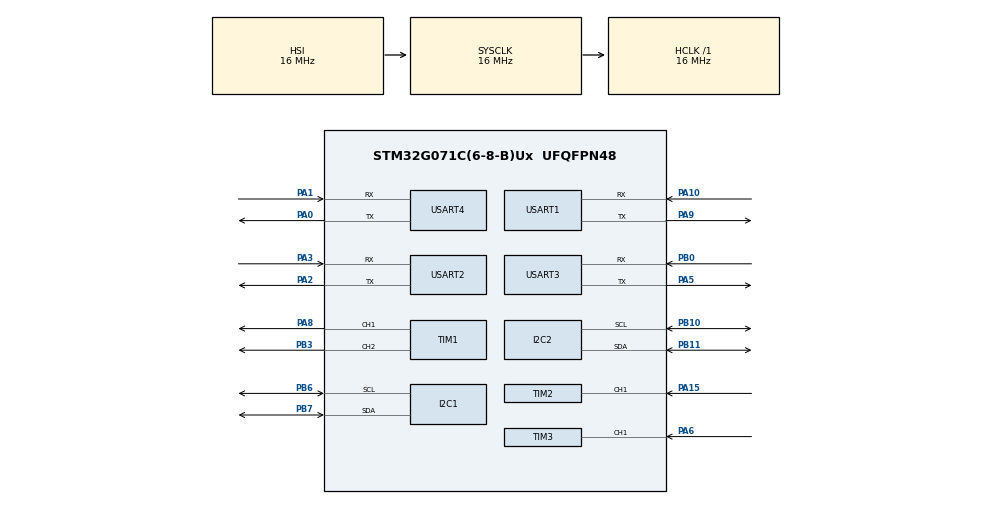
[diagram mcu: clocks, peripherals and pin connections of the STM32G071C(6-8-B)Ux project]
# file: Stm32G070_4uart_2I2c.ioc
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Dma.Request0=USART1_RX
Dma.Request1=USART2_RX
Dma.Request2=USART3_RX
Dma.Request3=USART4_RX
Dma.USART1_RX.0.Direction=DMA_PERIPH_TO_MEMORY
Dma.USART1_RX.0.EventEnable=DISABLE
Dma.USART1_RX.0.Instance=DMA1_Channel1
Dma.USART1_RX.0.MemDataAlignment=DMA_MDATAALIGN_BYTE
Dma.USART1_RX.0.MemInc=DMA_MINC_ENABLE
Dma.USART1_RX.0.Mode=DMA_CIRCULAR
Dma.USART1_RX.0.PeriphDataAlignment=DMA_PDATAALIGN_BYTE
Dma.USART1_RX.0.PeriphInc=DMA_PINC_DISABLE
Dma.USART1_RX.0.Polarity=HAL_DMAMUX_REQ_GEN_RISING
Dma.USART1_RX.0.Priority=DMA_PRIORITY_LOW
Dma.USART1_RX.0.RequestNumber=1
Dma.USART1_RX.0.SignalID=NONE
Dma.USART1_RX.0.SyncEnable=DISABLE
Dma.USART1_RX.0.SyncPolarity=HAL_DMAMUX_SYNC_NO_EVENT
Dma.USART1_RX.0.SyncRequestNumber=1
Dma.USART1_RX.0.SyncSignalID=NONE
Dma.USART2_RX.1.Direction=DMA_PERIPH_TO_MEMORY
Dma.USART2_RX.1.EventEnable=DISABLE
Dma.USART2_RX.1.Instance=DMA1_Channel2
Dma.USART2_RX.1.MemDataAlignment=DMA_MDATAALIGN_BYTE
Dma.USART2_RX.1.MemInc=DMA_MINC_ENABLE
Dma.USART2_RX.1.Mode=DMA_CIRCULAR
Dma.USART2_RX.1.PeriphDataAlignment=DMA_PDATAALIGN_BYTE
Dma.USART2_RX.1.PeriphInc=DMA_PINC_DISABLE
Dma.USART2_RX.1.Polarity=HAL_DMAMUX_REQ_GEN_RISING
Dma.USART2_RX.1.Priority=DMA_PRIORITY_LOW
Dma.USART2_RX.1.RequestNumber=1
Dma.USART2_RX.1.SignalID=NONE
Dma.USART2_RX.1.SyncEnable=DISABLE
Dma.USART2_RX.1.SyncPolarity=HAL_DMAMUX_SYNC_NO_EVENT
Dma.USART2_RX.1.SyncRequestNumber=1
Dma.USART2_RX.1.SyncSignalID=NONE
Dma.USART3_RX.2.Direction=DMA_PERIPH_TO_MEMORY
Dma.USART3_RX.2.EventEnable=DISABLE
Dma.USART3_RX.2.Instance=DMA1_Channel3
Dma.USART3_RX.2.MemDataAlignment=DMA_MDATAALIGN_BYTE
Dma.USART3_RX.2.MemInc=DMA_MINC_ENABLE
Dma.USART3_RX.2.Mode=DMA_CIRCULAR
Dma.USART3_RX.2.PeriphDataAlignment=DMA_PDATAALIGN_BYTE
Dma.USART3_RX.2.PeriphInc=DMA_PINC_DISABLE
Dma.USART3_RX.2.Polarity=HAL_DMAMUX_REQ_GEN_RISING
Dma.USART3_RX.2.Priority=DMA_PRIORITY_LOW
Dma.USART3_RX.2.RequestNumber=1
Dma.USART3_RX.2.SignalID=NONE
Dma.USART3_RX.2.SyncEnable=DISABLE
Dma.USART3_RX.2.SyncPolarity=HAL_DMAMUX_SYNC_NO_EVENT
Dma.USART3_RX.2.SyncRequestNumber=1
Dma.USART3_RX.2.SyncSignalID=NONE
Dma.USART4_RX.3.Direction=DMA_PERIPH_TO_MEMORY
Dma.USART4_RX.3.EventEnable=DISABLE
Dma.USART4_RX.3.Instance=DMA1_Channel4
Dma.USART4_RX.3.MemDataAlignment=DMA_MDATAALIGN_BYTE
Dma.USART4_RX.3.MemInc=DMA_MINC_ENABLE
Dma.USART4_RX.3.Mode=DMA_CIRCULAR
Dma.USART4_RX.3.PeriphDataAlignment=DMA_PDATAALIGN_BYTE
Dma.USART4_RX.3.PeriphInc=DMA_PINC_DISABLE
Dma.USART4_RX.3.Polarity=HAL_DMAMUX_REQ_GEN_RISING
Dma.USART4_RX.3.Priority=DMA_PRIORITY_LOW
Dma.USART4_RX.3.RequestNumber=1
Dma.USART4_RX.3.SignalID=NONE
Dma.USART4_RX.3.SyncEnable=DISABLE
Dma.USART4_RX.3.SyncPolarity=HAL_DMAMUX_SYNC_NO_EVENT
Dma.USART4_RX.3.SyncRequestNumber=1
Dma.USART4_RX.3.SyncSignalID=NONE
FREERTOS.Tasks01=defaultTask,24,256,StartDefaultTask,Default,NULL,Dynamic,NULL,NULL
FREERTOS.configTOTAL_HEAP_SIZE=10240
Mcu.Family=STM32G0
Mcu.Name=STM32G071C(6-8-B)Ux
Mcu.Package=UFQFPN48
NVIC.DMA1_Ch4_7_DMAMUX1_OVR_IRQn=true\:3\:0\:false\:false\:true\:true\:false\:true
NVIC.DMA1_Channel1_IRQn=true\:3\:0\:false\:false\:true\:true\:false\:true
NVIC.DMA1_Channel2_3_IRQn=true\:3\:0\:false\:false\:true\:true\:false\:true
NVIC.TIM6_DAC_LPTIM1_IRQn=true\:0\:0\:false\:false\:true\:false\:false\:true
NVIC.TimeBase=TIM6_DAC_LPTIM1_IRQn
NVIC.TimeBaseIP=TIM6
PA0.Mode=Asynchronous
PA0.Signal=USART4_TX
PA1.Mode=Asynchronous
PA1.Signal=USART4_RX
PA10.Mode=Asynchronous
PA10.Signal=USART1_RX
PA15.Signal=S_TIM2_CH1
PA2.Mode=Asynchronous
PA2.Signal=USART2_TX
PA3.Mode=Asynchronous
PA3.Signal=USART2_RX
PA5.Mode=Asynchronous
PA5.Signal=USART3_TX
PA6.Signal=S_TIM3_CH1
PA8.Signal=S_TIM1_CH1
PA9.Mode=Asynchronous
PA9.Signal=USART1_TX
PB0.Mode=Asynchronous
PB0.Signal=USART3_RX
PB10.Mode=I2C
PB10.Signal=I2C2_SCL
PB11.Mode=I2C
PB11.Signal=I2C2_SDA
PB3.Signal=S_TIM1_CH2
PB6.Mode=I2C
PB6.Signal=I2C1_SCL
PB7.Mode=I2C
PB7.Signal=I2C1_SDA
ProjectManager.HeapSize=0x200
ProjectManager.StackSize=0x400
ProjectManager.TargetToolchain=MDK-ARM V5
RCC.AHBFreq_Value=16000000
RCC.CortexFreq_Value=16000000
RCC.EXTERNAL_CLOCK_VALUE=48000
RCC.HCLKFreq_Value=16000000
RCC.HSE_VALUE=8000000
RCC.HSI_VALUE=16000000
RCC.LSE_VALUE=32768
RCC.SYSCLKFreq_VALUE=16000000
RCC.VCOOutputFreq_Value=128000000
SH.S_TIM1_CH1.0=TIM1_CH1,PWM Generation1 CH1
SH.S_TIM1_CH2.0=TIM1_CH2,PWM Generation2 CH2
SH.S_TIM2_CH1.0=TIM2_CH1,TriggerSource_TI1FP1
SH.S_TIM3_CH1.0=TIM3_CH1,TriggerSource_TI1FP1
TIM1.Channel-PWM\ Generation1\ CH1=TIM_CHANNEL_1
TIM1.Channel-PWM\ Generation2\ CH2=TIM_CHANNEL_2
TIM1.OCFastMode_PWM-PWM\ Generation1\ CH1=TIM_OCFAST_ENABLE
TIM1.OCFastMode_PWM-PWM\ Generation2\ CH2=TIM_OCFAST_ENABLE
USART1.VirtualMode-Asynchronous=VM_ASYNC
USART2.VirtualMode-Asynchronous=VM_ASYNC
USART3.VirtualMode-Asynchronous=VM_ASYNC
USART4.VirtualMode-Asynchronous=VM_ASYNC
VP_FREERTOS_VS_CMSIS_V2.Mode=CMSIS_V2
VP_SYS_VS_DBSignals.Mode=DisableDeadBatterySignals
VP_SYS_VS_tim6.Mode=TIM6
VP_TIM2_VS_ControllerModeClock.Mode=Clock Mode
VP_TIM3_VS_ControllerModeClock.Mode=Clock Mode
board=custom

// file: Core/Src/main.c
/* USER CODE BEGIN Header */
/**
  ******************************************************************************
  * @file           : main.c
  * @brief          : Main program body
  ******************************************************************************
  * @attention
  *
  * <h2><center>&copy; Copyright (c) 2026 STMicroelectronics.
  * All rights reserved.</center></h2>
  *
  * This software component is licensed by ST under Ultimate Liberty license
  * SLA0044, the "License"; You may not use this file except in compliance with
  * the License. You may obtain a copy of the License at:
  *                             www.st.com/SLA0044
  *
  ******************************************************************************
  */
/* USER CODE END Header */
#include "main.h"
#include "cmsis_os.h"
#include "dma.h"
#include "i2c.h"
#include "tim.h"
#include "usart.h"
#include "gpio.h"

/* USER CODE BEGIN Includes */
#include "uart_dma_rx.h"
/* USER CODE END Includes */

void SystemClock_Config(void);
void MX_FREERTOS_Init(void);

int main(void)
{

  /* MCU Configuration--------------------------------------------------------*/

  /* Reset of all peripherals, Initializes the Flash interface and the Systick. */
  HAL_Init();

  /* Configure the system clock */
  SystemClock_Config();

  /* Initialize all configured peripherals */
  MX_GPIO_Init();
  MX_DMA_Init();
  MX_I2C1_Init();
  MX_I2C2_Init();
  MX_USART1_UART_Init();
  MX_USART2_UART_Init();
  MX_USART3_UART_Init();
  MX_USART4_UART_Init();
  MX_TIM1_Init();
  MX_TIM2_Init();
  MX_TIM3_Init();
  /* USER CODE BEGIN 2 */
  UART_DMA_RX_Init();
  /* USER CODE END 2 */

  /* Init scheduler */
  osKernelInitialize();  /* Call init function for freertos objects (in freertos.c) */
  MX_FREERTOS_Init();
  /* Start scheduler */
  osKernelStart();

  /* We should never get here as control is now taken by the scheduler */
  /* Infinite loop */
  while (1)
  {

  }
}

void SystemClock_Config(void)
{
  RCC_OscInitTypeDef RCC_OscInitStruct = {0};
  RCC_ClkInitTypeDef RCC_ClkInitStruct = {0};
  RCC_PeriphCLKInitTypeDef PeriphClkInit = {0};

  /** Configure the main internal regulator output voltage
  */
  HAL_PWREx_ControlVoltageScaling(PWR_REGULATOR_VOLTAGE_SCALE1);
  /** Initializes the RCC Oscillators according to the specified parameters
  * in the RCC_OscInitTypeDef structure.
  */
  RCC_OscInitStruct.OscillatorType = RCC_OSCILLATORTYPE_HSI;
  RCC_OscInitStruct.HSIState = RCC_HSI_ON;
  RCC_OscInitStruct.HSIDiv = RCC_HSI_DIV1;
  RCC_OscInitStruct.HSICalibrationValue = RCC_HSICALIBRATION_DEFAULT;
  RCC_OscInitStruct.PLL.PLLState = RCC_PLL_NONE;
  if (HAL_RCC_OscConfig(&RCC_OscInitStruct) != HAL_OK)
  {
    Error_Handler();
  }
  /** Initializes the CPU, AHB and APB buses clocks
  */
  RCC_ClkInitStruct.ClockType = RCC_CLOCKTYPE_HCLK|RCC_CLOCKTYPE_SYSCLK
                              |RCC_CLOCKTYPE_PCLK1;
  RCC_ClkInitStruct.SYSCLKSource = RCC_SYSCLKSOURCE_HSI;
  RCC_ClkInitStruct.AHBCLKDivider = RCC_SYSCLK_DIV1;
  RCC_ClkInitStruct.APB1CLKDivider = RCC_HCLK_DIV1;

  if (HAL_RCC_ClockConfig(&RCC_ClkInitStruct, FLASH_LATENCY_0) != HAL_OK)
  {
    Error_Handler();
  }
  /** Initializes the peripherals clocks
  */
  PeriphClkInit.PeriphClockSelection = RCC_PERIPHCLK_USART1|RCC_PERIPHCLK_USART2
                              |RCC_PERIPHCLK_I2C1|RCC_PERIPHCLK_TIM1;
  PeriphClkInit.Usart1ClockSelection = RCC_USART1CLKSOURCE_PCLK1;
  PeriphClkInit.Usart2ClockSelection = RCC_USART2CLKSOURCE_PCLK1;
  PeriphClkInit.I2c1ClockSelection = RCC_I2C1CLKSOURCE_PCLK1;
  PeriphClkInit.Tim1ClockSelection = RCC_TIM1CLKSOURCE_PCLK1;
  if (HAL_RCCEx_PeriphCLKConfig(&PeriphClkInit) != HAL_OK)
  {
    Error_Handler();
  }
}

 /**
  * @brief  Period elapsed callback in non blocking mode
  * @note   This function is called  when TIM6 interrupt took place, inside
  * HAL_TIM_IRQHandler(). It makes a direct call to HAL_IncTick() to increment
  * a global variable "uwTick" used as application time base.
  * @param  htim : TIM handle
  * @retval None
  */
void HAL_TIM_PeriodElapsedCallback(TIM_HandleTypeDef *htim)
{
  if (htim->Instance == TIM6) {
    HAL_IncTick();
  }
}

void Error_Handler(void)
{
  __disable_irq();
  while (1)
  {
  }
}

/************************ (C) COPYRIGHT STMicroelectronics *****END OF FILE****/

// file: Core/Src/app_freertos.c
/* USER CODE BEGIN Header */
/**
  ******************************************************************************
  * File Name          : app_freertos.c
  * Description        : Code for freertos applications
  ******************************************************************************
  * @attention
  *
  * <h2><center>&copy; Copyright (c) 2026 STMicroelectronics.
  * All rights reserved.</center></h2>
  *
  * This software component is licensed by ST under Ultimate Liberty license
  * SLA0044, the "License"; You may not use this file except in compliance with
  * the License. You may obtain a copy of the License at:
  *                             www.st.com/SLA0044
  *
  ******************************************************************************
  */
/* USER CODE END Header */

#include "FreeRTOS.h"
#include "task.h"
#include "main.h"
#include "cmsis_os.h"

/* USER CODE BEGIN Includes */
#include "usart.h"
#include "uart_dma_rx.h"
#include "i2c.h"
#include "aht20.h"
#include "bh1750.h"
#include "sc4m01a.h"
#include "modbus_rtu.h"
#include "ba111.h"
#include <stdio.h>
/* USER CODE END Includes */

/* USER CODE BEGIN Variables */
osThreadId_t uart1TaskHandle;
const osThreadAttr_t uart1Task_attributes = {
  .name = "uart1Task",
  .priority = (osPriority_t) osPriorityNormal,
  .stack_size = 256 * 4
};

osThreadId_t uart2TaskHandle;
const osThreadAttr_t uart2Task_attributes = {
  .name = "uart2Task",
  .priority = (osPriority_t) osPriorityNormal,
  .stack_size = 256 * 4
};

osThreadId_t uart3TaskHandle;
const osThreadAttr_t uart3Task_attributes = {
  .name = "uart3Task",
  .priority = (osPriority_t) osPriorityNormal,
  .stack_size = 256 * 4
};

osThreadId_t uart4TaskHandle;
const osThreadAttr_t uart4Task_attributes = {
  .name = "uart4Task",
  .priority = (osPriority_t) osPriorityNormal,
  .stack_size = 256 * 4
};

osThreadId_t aht20TaskHandle;
const osThreadAttr_t aht20Task_attributes = {
  .name = "aht20Task",
  .priority = (osPriority_t) osPriorityNormal,
  .stack_size = 256 * 4
};
/* USER CODE END Variables */
/* Definitions for defaultTask */
osThreadId_t defaultTaskHandle;
const osThreadAttr_t defaultTask_attributes = {
  .name = "defaultTask",
  .priority = (osPriority_t) osPriorityNormal,
  .stack_size = 256 * 4
};

/* USER CODE BEGIN FunctionPrototypes */
void StartUart1Task(void *argument);
void StartUart2Task(void *argument);
void StartUart3Task(void *argument);
void StartUart4Task(void *argument);
void StartAht20Task(void *argument);
/* USER CODE END FunctionPrototypes */

void StartDefaultTask(void *argument);

void MX_FREERTOS_Init(void); /* (MISRA C 2004 rule 8.1) */

void MX_FREERTOS_Init(void) {

  /* Create the thread(s) */
  /* creation of defaultTask */
  defaultTaskHandle = osThreadNew(StartDefaultTask, NULL, &defaultTask_attributes);

  /* USER CODE BEGIN RTOS_THREADS */
  uart1TaskHandle = osThreadNew(StartUart1Task, NULL, &uart1Task_attributes);
  uart2TaskHandle = osThreadNew(StartUart2Task, NULL, &uart2Task_attributes);
  uart3TaskHandle = osThreadNew(StartUart3Task, NULL, &uart3Task_attributes);
  uart4TaskHandle = osThreadNew(StartUart4Task, NULL, &uart4Task_attributes);

  /* 将任务句柄注册到驱动，IDLE 中断触发时唤醒对应任�? */
  UART_DMA_RX_RegisterTask(&huart1, uart1TaskHandle);
  UART_DMA_RX_RegisterTask(&huart2, uart2TaskHandle);
  UART_DMA_RX_RegisterTask(&huart3, uart3TaskHandle);
  UART_DMA_RX_RegisterTask(&huart4, uart4TaskHandle);

  aht20TaskHandle = osThreadNew(StartAht20Task, NULL, &aht20Task_attributes);
  /* USER CODE END RTOS_THREADS */

}

void StartDefaultTask(void *argument)
{
  for(;;)
  {
    osDelay(1);
  }
}

/* USER CODE BEGIN Application */

/**
 * @brief USART1 接收任务
 *        �? IDLE 中断通过 Task Notification 唤醒�?10ms 超时兜底轮询
 */
void StartUart1Task(void *argument)
{
    uint8_t buf[256];
    for (;;) {
        ulTaskNotifyTake(pdTRUE, pdMS_TO_TICKS(10));

        uint16_t n;
        while ((n = UART_DMA_RX_Read(&huart1, buf, sizeof(buf))) > 0) {
            /* USER CODE BEGIN Uart1Task_Process */
            /* 在此处理 huart1 收到�? n 字节数据，数据位�? buf[0..n-1] */
            /* USER CODE END Uart1Task_Process */
        }
    }
}

/**
 * @brief USART2 Modbus RTU 从站任务（RS485，从机地�? 0x01�?
 *        DMA+IDLE 接收帧，调用 Modbus_Process 解析并回�?
 */
void StartUart2Task(void *argument)
{
    uint8_t buf[256];
    Modbus_Init();

    for (;;) {
        ulTaskNotifyTake(pdTRUE, pdMS_TO_TICKS(10));

        uint16_t n;
        while ((n = UART_DMA_RX_Read(&huart2, buf, sizeof(buf))) > 0) {
            Modbus_Process(buf, n);
        }
    }
}

/**
 * @brief SC-4M01A 空气质量采集任务（USART3�?9600 bps�?
 *        持续接收模块每秒上报�? 14 字节帧，�? 10 秒�?�过 UART1 打印�?新数�?
 */
void StartUart3Task(void *argument)
{
    uint8_t          raw[64];
    uint16_t         n;
    SC4M01A_Parser_t parser;
    SC4M01A_Data_t   latest  = {0};
    uint8_t          has_data = 0;
    char             out[128];
    int              len;
    TickType_t       last_print = xTaskGetTickCount();

    SC4M01A_ParserInit(&parser);

    for (;;) {
        /* 等待 IDLE 中断通知�?10ms 超时兜底 */
        ulTaskNotifyTake(pdTRUE, pdMS_TO_TICKS(10));

        /* 取出�?有可用字节，喂给解析�? */
        while ((n = UART_DMA_RX_Read(&huart3, raw, sizeof(raw))) > 0) {
            if (SC4M01A_Feed(&parser, raw, n, &latest)) {
                has_data = 1;
                g_modbus_input[MODBUS_REG_CO2_1] = (int16_t)latest.co2;
            }
        }

        /* �? 10 秒打印一�? */
        if ((xTaskGetTickCount() - last_print) >= pdMS_TO_TICKS(10000)) {
            last_print = xTaskGetTickCount();

            if (has_data) {
                /* 温度可为负�?�，单独处理符号 */
                int16_t t = latest.temp10;
                if (t < 0) {
                    len = snprintf(out, sizeof(out),
                        "[AQI] TVOC=%u ug/m3  HCHO=%u ug/m3  CO2=%u ppm"
                        "  AQI=%u  T=-%d.%d C  RH=%d.%d%%\r\n",
                        latest.tvoc, latest.hcho, latest.co2, latest.aqi,
                        (int)((-t) / 10), (int)((-t) % 10),
                        (int)(latest.humi10 / 10), (int)(latest.humi10 % 10));
                } else {
                    len = snprintf(out, sizeof(out),
                        "[AQI] TVOC=%u ug/m3  HCHO=%u ug/m3  CO2=%u ppm"
                        "  AQI=%u  T=%d.%d C  RH=%d.%d%%\r\n",
                        latest.tvoc, latest.hcho, latest.co2, latest.aqi,
                        (int)(t / 10), (int)(t % 10),
                        (int)(latest.humi10 / 10), (int)(latest.humi10 % 10));
                }
            } else {
                len = snprintf(out, sizeof(out), "[AQI] No data (check SC-4M01A)\r\n");
            }

            HAL_UART_Transmit(&huart1, (uint8_t *)out, (uint16_t)len, 200);
        }
    }
}

/**
 * @brief USART4 任务
 *        BOT 板：BA111 EC/TDS 传感器采集（9600 bps），每 5 秒查询一次
 *        Top 板：通用接收（占位）
 */
void StartUart4Task(void *argument)
{
    uint8_t  buf[16];
    uint16_t n;
#if defined(MODBUS_BOARD_BOT)
    BA111_Data_t ec;
    char         out[64];
    int          len;
    TickType_t   last_wake = xTaskGetTickCount();
#endif

    for (;;) {
#if defined(MODBUS_BOARD_BOT)
        /* 发送 BA111 检测指令，等待 IDLE 中断触发通知 */
        BA111_Request(&huart4);
        ulTaskNotifyTake(pdTRUE, pdMS_TO_TICKS(200));

        n = UART_DMA_RX_Read(&huart4, buf, sizeof(buf));
        if (BA111_Parse(buf, n, &ec) == HAL_OK) {
            g_modbus_input_ec = ec.tds_ppm*2;
            len = snprintf(out, sizeof(out),
                           "[EC] TDS=%u ppm  T=%d.%d C\r\n",
                           ec.tds_ppm,
                           (int)(ec.temp10 / 10), (int)(ec.temp10 % 10));
            HAL_UART_Transmit(&huart1, (uint8_t *)out, (uint16_t)len, 200);
        }
        vTaskDelayUntil(&last_wake, pdMS_TO_TICKS(5000));
#else
        ulTaskNotifyTake(pdTRUE, pdMS_TO_TICKS(10));
        while ((n = UART_DMA_RX_Read(&huart4, buf, sizeof(buf))) > 0) {
            /* USER CODE BEGIN Uart4Task_Process */
            /* USER CODE END Uart4Task_Process */
        }
#endif
    }
}

/**
 * @brief 环境传感器采集任务
 *        [ENV]  = I2C1 AHT20(0x38) 一层温湿度 + BH1750(I2C2, 0x23) 光照
 *        [ENV1] = I2C2 AHT20(0x38) 箱外温度（仅 Top 板，BOT 板不接）
 *
 *        BH1750 ADDR 引脚接 GND 时地址 BH1750_ADDR_L (0x23)
 *        若 ADDR 接 VCC，改为 BH1750_ADDR_H (0x5C)
 */
void StartAht20Task(void *argument)
{
    char         buf[80];
    int          len;
    AHT20_Data_t aht20;       /* I2C1 AHT20：一层温湿度（两板均有） */
#if !defined(MODBUS_BOARD_BOT)
    AHT20_Data_t aht20_i2c2;  /* I2C2 AHT20：箱外温度（仅 Top 板） */
#endif
    uint32_t     lux;
    TickType_t   last_wake = xTaskGetTickCount();

    /* --- 初始化 I2C1 上的 AHT20（一层温湿度，两板均有）--- */
    while (AHT20_Init(&hi2c1) != HAL_OK) {
        len = snprintf(buf, sizeof(buf), "[ENV] AHT20 init failed, retrying...\r\n");
        HAL_UART_Transmit(&huart1, (uint8_t *)buf, (uint16_t)len, 200);
        osDelay(1000);
    }

    /* --- 初始化 BH1750（I2C2，内部等待 180ms 首次测量完成）--- */
    while (BH1750_Init(&hi2c2, BH1750_ADDR_L) != HAL_OK) {
        len = snprintf(buf, sizeof(buf), "[ENV] BH1750 init failed, retrying...\r\n");
        HAL_UART_Transmit(&huart1, (uint8_t *)buf, (uint16_t)len, 200);
        osDelay(1000);
    }

#if !defined(MODBUS_BOARD_BOT)
    /* --- 初始化 I2C2 上的 AHT20（仅 Top 板，用于箱外温度）--- */
    while (AHT20_Init(&hi2c2) != HAL_OK) {
        len = snprintf(buf, sizeof(buf), "[ENV1] AHT20 init failed, retrying...\r\n");
        HAL_UART_Transmit(&huart1, (uint8_t *)buf, (uint16_t)len, 200);
        osDelay(1000);
    }
    len = snprintf(buf, sizeof(buf), "[ENV] AHT20(I2C1) + BH1750 + AHT20(I2C2) ready\r\n");
#else
    len = snprintf(buf, sizeof(buf), "[ENV] AHT20(I2C1) + BH1750 ready\r\n");
#endif
    HAL_UART_Transmit(&huart1, (uint8_t *)buf, (uint16_t)len, 200);

    for (;;) {
        /* 读 I2C1 AHT20（一层温湿度，内含 osDelay 80ms） */
        HAL_StatusTypeDef aht_ret = AHT20_Read(&hi2c1, &aht20);

        /* 读 BH1750（I2C2，连续模式直接取最新值） */
        HAL_StatusTypeDef bh_ret = BH1750_Read(&hi2c2, BH1750_ADDR_L, &lux);

#if !defined(MODBUS_BOARD_BOT)
        /* 读 I2C2 AHT20（箱外温度，内含 osDelay 80ms） */
        HAL_StatusTypeDef aht2_ret = AHT20_Read(&hi2c2, &aht20_i2c2);
#endif

        /* --- 更新 Modbus 输入寄存器 --- */
        if (aht_ret == HAL_OK) {
            g_modbus_input[MODBUS_REG_TEMP1]  = (int16_t)(aht20.temperature * 10.0f);
            g_modbus_input[MODBUS_REG_HUMID1] = (int16_t)(aht20.humidity    * 10.0f);
        }
        if (bh_ret == HAL_OK) {
            g_modbus_input[MODBUS_REG_LIGHT1] = (int16_t)lux;
        }
#if !defined(MODBUS_BOARD_BOT)
        if (aht2_ret == HAL_OK) {
            g_modbus_input[MODBUS_REG_TEMP2]  = (int16_t)(aht20_i2c2.temperature * 10.0f);
        }
#endif

        /* --- 输出 I2C1：AHT20 + BH1750 --- */
        if (aht_ret == HAL_OK && bh_ret == HAL_OK) {
            int32_t t10 = (int32_t)(aht20.temperature * 10.0f);
            int32_t h10 = (int32_t)(aht20.humidity    * 10.0f);

            if (t10 < 0) {
                len = snprintf(buf, sizeof(buf),
                               "[ENV INSIDE] T=-%d.%d C  RH=%d.%d%%  Lux=%lu\r\n",
                               (int)((-t10) / 10), (int)((-t10) % 10),
                               (int)(h10    / 10), (int)(h10    % 10),
                               (unsigned long)lux);
            } else {
                len = snprintf(buf, sizeof(buf),
                               "[ENV INSIDE] T=%d.%d C  RH=%d.%d%%  Lux=%lu\r\n",
                               (int)(t10 / 10), (int)(t10 % 10),
                               (int)(h10 / 10), (int)(h10 % 10),
                               (unsigned long)lux);
            }
        } else {
            len = snprintf(buf, sizeof(buf),
                           "[ENV INSIDE] Read error (AHT20:%d BH1750:%d)\r\n",
                           (int)aht_ret, (int)bh_ret);
        }
        HAL_UART_Transmit(&huart1, (uint8_t *)buf, (uint16_t)len, 200);

#if !defined(MODBUS_BOARD_BOT)
        /* --- 输出 I2C2：AHT20（箱外温度）--- */
        if (aht2_ret == HAL_OK) {
            int32_t t10 = (int32_t)(aht20_i2c2.temperature * 10.0f);
            int32_t h10 = (int32_t)(aht20_i2c2.humidity    * 10.0f);

            if (t10 < 0) {
                len = snprintf(buf, sizeof(buf),
                               "[ENV OUTSIDE] T=-%d.%d C  RH=%d.%d%%\r\n",
                               (int)((-t10) / 10), (int)((-t10) % 10),
                               (int)(h10    / 10), (int)(h10    % 10));
            } else {
                len = snprintf(buf, sizeof(buf),
                               "[ENV OUTSIDE] T=%d.%d C  RH=%d.%d%%\r\n",
                               (int)(t10 / 10), (int)(t10 % 10),
                               (int)(h10 / 10), (int)(h10 % 10));
            }
        } else {
            len = snprintf(buf, sizeof(buf),
                           "[ENV OUTSIDE] Read error (AHT20:%d)\r\n",
                           (int)aht2_ret);
        }
        HAL_UART_Transmit(&huart1, (uint8_t *)buf, (uint16_t)len, 200);
#endif

        /* 精确 5 秒间隔（补偿传感器读取�?�时�? */
        vTaskDelayUntil(&last_wake, pdMS_TO_TICKS(5000));
    }
}

/* USER CODE END Application */

/************************ (C) COPYRIGHT STMicroelectronics *****END OF FILE****/
